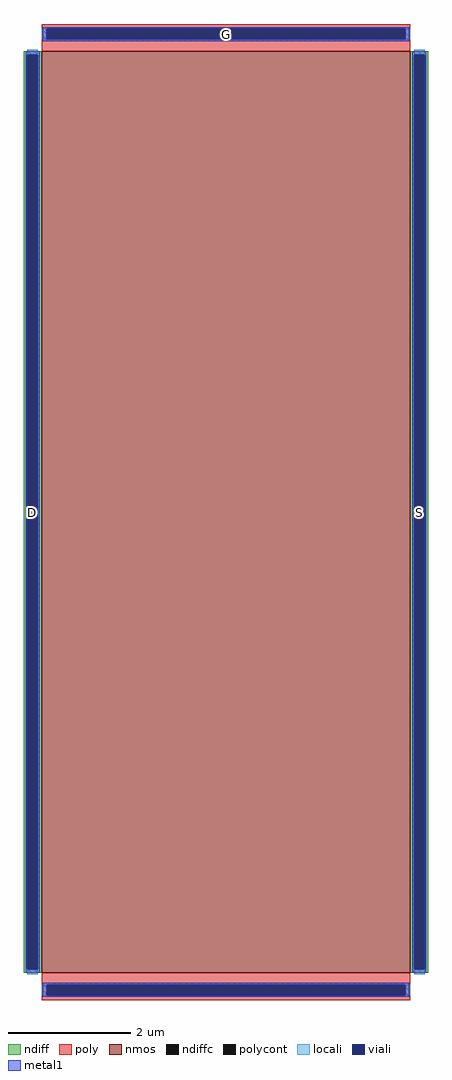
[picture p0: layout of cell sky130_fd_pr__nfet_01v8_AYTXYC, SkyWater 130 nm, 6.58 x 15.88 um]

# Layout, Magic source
magic
tech sky130A
magscale 1 2
<< nmos >>
rect -600 -1500 600 1500
<< ndiff >>
rect -658 1488 -600 1500
rect -658 -1488 -646 1488
rect -612 -1488 -600 1488
rect -658 -1500 -600 -1488
rect 600 1488 658 1500
rect 600 -1488 612 1488
rect 646 -1488 658 1488
rect 600 -1500 658 -1488
<< ndiffc >>
rect -646 -1488 -612 1488
rect 612 -1488 646 1488
<< poly >>
rect -600 1572 600 1588
rect -600 1538 -584 1572
rect 584 1538 600 1572
rect -600 1500 600 1538
rect -600 -1538 600 -1500
rect -600 -1572 -584 -1538
rect 584 -1572 600 -1538
rect -600 -1588 600 -1572
<< polycont >>
rect -584 1538 584 1572
rect -584 -1572 584 -1538
<< locali >>
rect -600 1538 -584 1572
rect 584 1538 600 1572
rect -646 1488 -612 1504
rect -646 -1504 -612 -1488
rect 612 1488 646 1504
rect 612 -1504 646 -1488
rect -600 -1572 -584 -1538
rect 584 -1572 600 -1538
<< viali >>
rect -584 1538 584 1572
rect -646 -1488 -612 1488
rect 612 -1488 646 1488
rect -584 -1572 584 -1538
<< metal1 >>
rect -596 1572 596 1578
rect -596 1538 -584 1572
rect 584 1538 596 1572
rect -596 1532 596 1538
rect -652 1488 -606 1500
rect -652 -1488 -646 1488
rect -612 -1488 -606 1488
rect -652 -1500 -606 -1488
rect 606 1488 652 1500
rect 606 -1488 612 1488
rect 646 -1488 652 1488
rect 606 -1500 652 -1488
rect -596 -1538 596 -1532
rect -596 -1572 -584 -1538
rect 584 -1572 596 -1538
rect -596 -1578 596 -1572
<< labels >>
rlabel ndiffc -629 0 -629 0 0 D
port 1 nsew
rlabel ndiffc 629 0 629 0 0 S
port 2 nsew
rlabel polycont 0 1555 0 1555 0 G
port 3 nsew
<< properties >>
string gencell sky130_fd_pr__nfet_01v8
string library sky130
string parameters w 15.0 l 6.0 m 1 nf 1 diffcov 100 polycov 100 guard 0 glc 0 grc 0 gtc 0 gbc 0 tbcov 100 rlcov 100 topc 1 botc 1 poverlap 0 doverlap 1 lmin 0.15 wmin 0.42 class mosfet compatible {sky130_fd_pr__nfet_01v8 sky130_fd_pr__nfet_01v8_lvt  sky130_fd_bs_flash__special_sonosfet_star  sky130_fd_pr__nfet_g5v0d10v5 sky130_fd_pr__nfet_05v0_nvt  sky130_fd_pr__nfet_03v3_nvt} full_metal 0 conn_gates 0 viasrc 100 viadrn 100 viagate 100 viagb 0 viagr 0 viagl 0 viagt 0 doports 1
<< end >>
